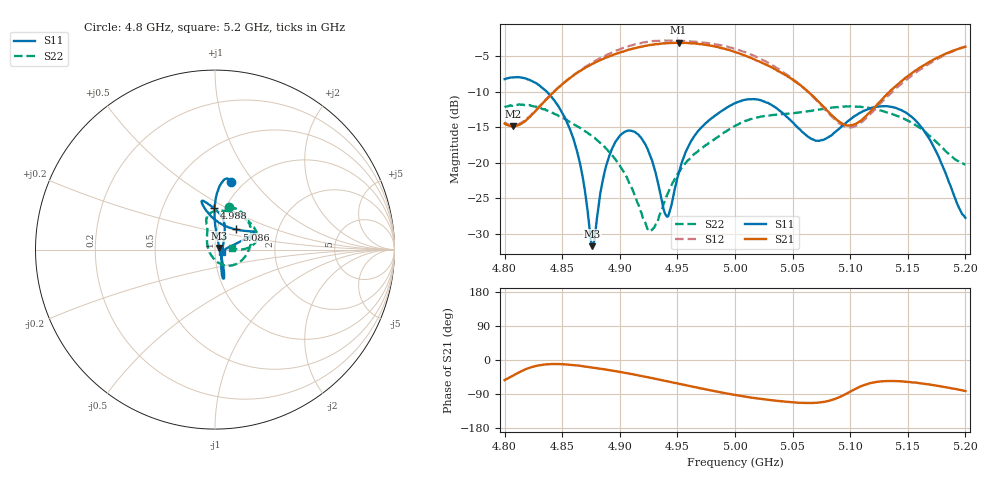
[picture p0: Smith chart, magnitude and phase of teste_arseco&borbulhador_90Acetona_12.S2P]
! Network Analyzer HP8722D
! Hewlett-Packard
! Data name: Linha & Wilkinson
! Saver's name: Rodrigo Anjos
! Comments: Teste da utilização de aquisição
! continua pelo VNA HP8722D
! Time and date: 17/4/2025 11:09
!  Frequency  S11  S21  S12  S22
# HZ  S  MA R 50
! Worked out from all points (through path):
!   401 points, 4.8 GHz to 5.2 GHz, reference 50 ohm
!   highest |S21| = -3.07 dB at 4.951 GHz (marker M1); lowest = -14.9 dB at 4.807 GHz (marker M2)
!   lowest |S11| = -31.7 dB at 4.876 GHz (marker M3), VSWR 1.05, Z = 52.5 + j1.01 ohm
!   |S11| at or under -10 dB: 4.837 GHz to end of sweep
!   |S22| runs from -29.6 to -11.8 dB; largest |S21 - S12| = 1.4
!   S11 on the Smith chart (normalised r, x): 4.8 GHz: 0.87, +0.78; 4.988 GHz: 0.89, +0.43; 5.086 GHz: 1.23, +0.28; 5.2 GHz: 1.08, -0.03
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4.8e9  0.3893 76.8  0.1894 -53.0  0.1927 82.0  0.2467 72.1
4.807e9  0.4007 79.0  0.1809 -41.8  0.1841 92.2  0.2526 65.9
4.845e9  0.2625 89.8  0.3293 -10.6  0.3294 122.8  0.2191 21.4
4.858e9  0.1618 90.3  0.4036 -13.0  0.4053 122.5  0.1913 1.7
4.867e9  0.08602 84.0  0.4522 -16.0  0.4572 121.3  0.1735 -12.3
4.876e9  0.02593 21.7  0.4992 -19.9  0.5074 119.0  0.1543 -26.6
4.889e9  0.1005 -63.6  0.5541 -25.8  0.5775 114.6  0.1245 -46.1
4.902e9  0.1609 -71.6  0.6085 -32.5  0.6409 108.9  0.09007 -66.3
4.925e9  0.1202 -72.8  0.675 -45.9  0.7149 96.1  0.03435 -142.2
4.934e9  0.06748 -57.4  0.689 -51.7  0.7256 90.3  0.04182 161.6
4.941e9  0.04181 -6.4  0.697 -56.1  0.7277 86.0  0.05931 138.4
4.951e9  0.08415 52.7  0.7024 -62.6  0.7242 79.6  0.0855 121.6
4.964e9  0.1519 69.7  0.6959 -70.7  0.7158 71.5  0.1141 112.1
4.988e9  0.2311 91.6  0.6435 -85.5  0.6729 55.9  0.1588 107.7
5e9  0.2639 100.0  0.6043 -92.4  0.6378 48.4  0.1826 105.2
5.029e9  0.2643 105.5  0.4833 -104.9  0.5059 33.4  0.216 88.0
5.067e9  0.147 76.5  0.2992 -113.2  0.2965 27.5  0.2331 54.6
5.086e9  0.1629 43.6  0.2097 -103.6  0.2045 39.3  0.2462 36.6
5.105e9  0.2166 28.0  0.1885 -75.5  0.1823 69.2  0.2491 22.1
5.134e9  0.25 23.3  0.316 -55.4  0.3024 91.0  0.2247 8.9
5.165e9  0.1644 19.0  0.4926 -63.1  0.4773 84.9  0.1657 1.2
5.2e9  0.0411 -16.8  0.6587 -81.7  0.661 67.5  0.09729 5.6
